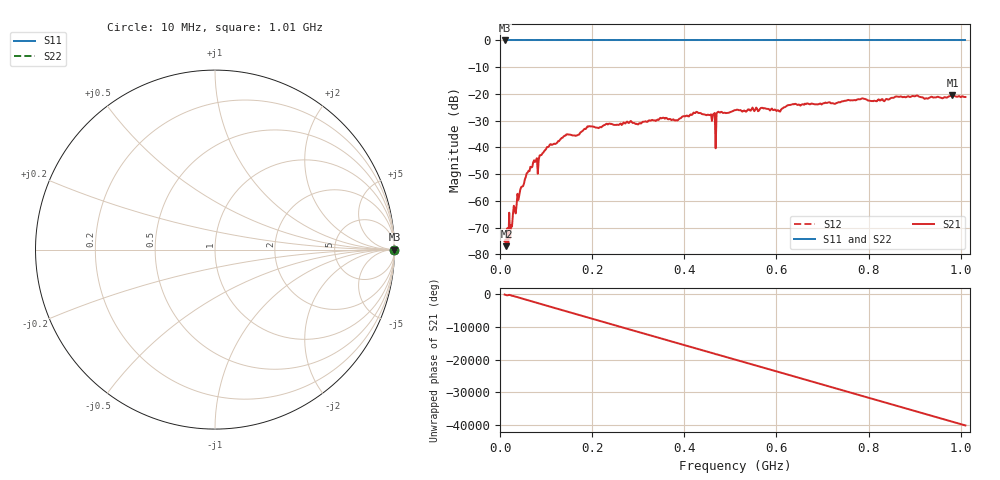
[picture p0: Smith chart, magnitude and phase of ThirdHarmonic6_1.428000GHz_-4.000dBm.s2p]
! 8/16/2025 4:26:56 PM
! C:\ANRITSUVNA\TEMP\TEMP.S2P
! CHANNEL.1
! TR.MEASUREMENT
! RAW.DATA
! RF.CORRECTION.OFF
! AVERAGING.OFF
! IF.BANDWIDTH: 5KHZ
! SWEEPTYPE:  FREQ.SWEEP(Linear)
! Reference Plane Port Info
! PORT:  PORT1  PORT2
! DISTANCE:  0  m  0  m
! TIME:  0  s  0  s
! PHASE.OFFSET:  0  deg.  0  deg.
! LOSS:  0  dB  0  dB
! REF.LOSS:  0  dB  0  dB
! REF.FREQ:  0  Hz  0  Hz
! Power Info
! POWER:  -20  dBm  -20  dBm
! EFF.POWER:  -20  dBm  -20  dBm
! SOURCE.ATTEN:  0  dB  0  dB
! TEST.ATTEN:  0  dB  0  dB
# GHZ S RI R 50.0
! FREQ.GHZ  S11RE  S11IM  S21RE  S21IM  S12RE  S12IM  S22RE  S22IM
!; PortSelection: Port_12
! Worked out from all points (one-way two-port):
!   501 points, 10 MHz to 1.01 GHz, reference 50 ohm
!   highest |S21| = -20.58 dB at 982 MHz (marker M1); lowest = -77.0 dB at 14 MHz (marker M2)
!   lowest |S11| = 0.0 dB at 10 MHz (marker M3)
!   |S11| at or under -10 dB: nowhere
!   |S22| runs from 0.0 to 0.0 dB; largest |S21 - S12| = 1.1
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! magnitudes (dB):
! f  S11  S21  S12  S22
! 10 MHz  0.0  -75.2  0.0  0.0
! 14 MHz  0.0  -77.0  0.0  0.0
! 42 MHz  0.0  -57.7  0.0  0.0
! 76 MHz  0.0  -45.5  0.0  0.0
! 80 MHz  0.0  -44.1  0.0  0.0
! 142 MHz  0.0  -35.6  0.0  0.0
! 178 MHz  0.0  -34.0  0.0  0.0
! 194 MHz  0.0  -32.1  0.0  0.0
! 344 MHz  0.0  -29.8  0.0  0.0
! 382 MHz  0.0  -29.8  0.0  0.0
! 430 MHz  0.0  -27.1  0.0  0.0
! 462 MHz  0.0  -27.7  0.0  0.0
! 464 MHz  0.0  -27.5  0.0  0.0
! 472 MHz  0.0  -26.9  0.0  0.0
! 474 MHz  0.0  -26.7  0.0  0.0
! 510 MHz  0.0  -26.1  0.0  0.0
! 604 MHz  0.0  -26.2  0.0  0.0
! 632 MHz  0.0  -24.0  0.0  0.0
! 678 MHz  0.0  -23.7  0.0  0.0
! 844 MHz  0.0  -22.1  0.0  0.0
! 982 MHz  0.0  -20.6  0.0  0.0
! 1.01 GHz  0.0  -21.2  0.0  0.0
